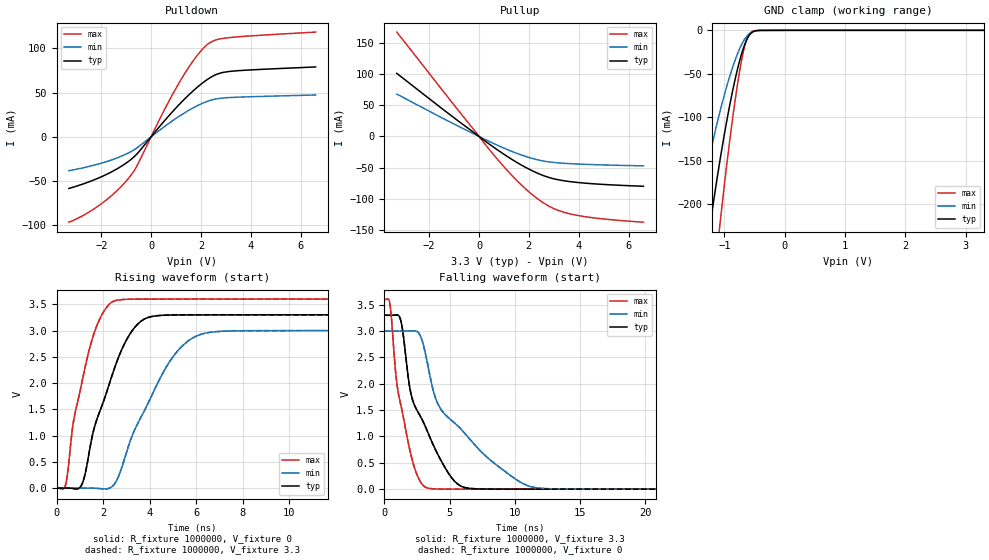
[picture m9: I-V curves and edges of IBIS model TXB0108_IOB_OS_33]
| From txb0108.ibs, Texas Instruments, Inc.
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[Model]   TXB0108_IOB_OS_33
Model_type  I/O
Vinl=1.05
Vinh=2.34
Enable   Active-High
Vref =   0
Rref =   1000000
Cref =   15p
Vmeas =   1.65
| variable   typ   min   max
C_comp   9.20pF   7.86pF   10.22pF
| C_pullup   9.44pF   7.19pF   11.72pF
| C_pulldown   9.53pF   8.77pF   9.98pF
| C_tri-state   9.20pF   7.86pF   10.22pF
[Temperature Range]   40   100   -40
| Ambient temperature   25   85   -40
[Voltage range]   3.3   3   3.6
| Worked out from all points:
|   slope of the pulldown table from 0 to 0.495 V, typ, clamps not added: 29.6 ohm
|   slope of the pullup table from 0 to 0.495 V, typ, clamps not added: 33.8 ohm
|   GND clamp passes 1 mA (typ) near -0.50 V on its own axis
|   rising waveform, R_fixture 1000000, V_fixture 0: 20-80 % time 1.41ns typ, 1.9ns min, 983ps max; typ from 0 V to 3.3 V
|   falling waveform, R_fixture 1000000, V_fixture 3.3: 20-80 % time 2.51ns typ, 4.61ns min, 1.32ns max; typ from 3.3 V to 0 V
|   rising waveform, R_fixture 1000000, V_fixture 3.3: 20-80 % time 1.41ns typ, 1.9ns min, 983ps max; typ from 0 V to 3.3 V
|   falling waveform, R_fixture 1000000, V_fixture 0: 20-80 % time 2.51ns typ, 4.61ns min, 1.32ns max; typ from 3.3 V to 0 V
[GND Clamp]
| TXB0108_IOB_33
|   Voltage   I(typ)   I(min)   I(max)
-3.3V     -1.53A     -1.102A    -2.005A
-1.49V    -354.6mA   -229.7mA   -515.1mA
-1.45V    -332.9mA   -214.9mA   -485.1mA
-1.24V    -225.5mA   -143mA     -333.6mA
-1.075V   -150.3mA   -93.9mA    -223.7mA
-885mV    -76.77mA   -47.04mA   -112.4mA
-745mV    -34.4mA    -20.81mA   -45.81mA
-695mV    -22.58mA   -13.75mA   -27.51mA
-640mV    -12.29mA   -7.744mA   -12.74mA
-585mV    -5.4mA     -3.7mA     -4.356mA
-530mV    -1.86mA    -1.452mA   -1.075mA
3.3V      573.2pA    2.891nA    92.19pA
[Pulldown]
| TXB0108_IOB_33
|   Voltage   I(typ)   I(min)   I(max)
-3.3V     -58.39mA   -38.31mA   -96.51mA
-1.955V   -44.67mA   -29.49mA   -74.8mA
-1.345V   -35.87mA   -23.66mA   -60.23mA
-840mV    -26.34mA   -17.24mA   -44.58mA
-560mV    -19.13mA   -12.39mA   -32.42mA
470mV     15.92mA    10.19mA    27.01mA
1.145V    36.98mA    23.51mA    61.97mA
1.775V    54.09mA    33.99mA    89.21mA
2.275V    65.11mA    40.26mA    104.7mA
2.61V     70.34mA    42.79mA    109.5mA
3.15V     73.84mA    44.33mA    112.1mA
6.6V      78.94mA    47.24mA    118.3mA
[Pullup]
| TXB0108_IOB_33
|   Voltage   I(typ)   I(min)   I(max)
-3.3V     101.4mA    68.04mA    167.8mA
-1.08V    32.41mA    21.56mA    54.5mA
655mV     -19.17mA   -12.61mA   -32.64mA
1.515V    -41.6mA    -27.04mA   -70.64mA
2.275V    -57.72mA   -36.8mA    -97.91mA
2.62V     -63.39mA   -39.78mA   -107.6mA
2.945V    -67.46mA   -41.57mA   -114.8mA
3.685V    -72.74mA   -43.77mA   -124.7mA
4.785V    -76.59mA   -45.52mA   -131.7mA
6.6V      -80.05mA   -47.21mA   -137.8mA
[Ramp]
| TXB0108_IOB_33
| variable   typ   min   max
dV/dt_r   1.99/1.41E-09   1.81/1.90E-09   2.17/9.85E-10
dV/dt_f   1.98/2.51E-09   1.80/4.60E-09   2.16/1.32E-09
R_load = 1000000
[Rising Waveform]
| TXB0108_IOB_33
R_fixture =   1000000
C_fixture =   0
L_fixture =   0
V_fixture =   0
V_fixture_min = 0
V_fixture_max = 0
|   Time   V(typ)   V(min)   V(max)
0s        988pV      11.37nV    243.9pV
389ps     832.3uV    20.32uV    63.89mV
725ps     -7.402mV   14.81uV    1.256V
1.085ns   65.9mV     797.7uV    2V
1.901ns   1.508V     -9.227mV   3.26V
2.861ns   2.693V     468.4mV    3.592V
3.725ns   3.206V     1.427V     3.599V
5.045ns   3.297V     2.522V     3.6V
7.133ns   3.3V       2.988V     3.6V
117.8ns   3.3V       3V         3.6V
[Falling Waveform]
| TXB0108_IOB_33
R_fixture =   1000000
C_fixture =   0
L_fixture =   0
V_fixture =   3.3
V_fixture_min = 3
V_fixture_max = 3.6
|   Time   V(typ)   V(min)   V(max)
0s        3.3V       3V         3.6V
413ps     3.299V     3V         3.52V
1.181ns   3.255V     2.999V     1.678V
2.045ns   1.796V     3.003V     637.7mV
2.765ns   1.377V     2.901V     137.6mV
3.557ns   941.8mV    2.067V     11.2mV
4.277ns   570.8mV    1.536V     2.24mV
5.933ns   48.7mV     1.121V     243.6uV
12.08ns   146.2uV    14.41mV    63.21uV
117.8ns   95.88uV    136uV      61.03uV
[Rising Waveform]
| TXB0108_IOB_33
R_fixture =   1000000
C_fixture =   0
L_fixture =   0
V_fixture =   3.3
V_fixture_min = 3
V_fixture_max = 3.6
|   Time   V(typ)   V(min)   V(max)
0s        94.81uV    134.2uV    60.54uV
389ps     927.1uV    154.5uV    63.95mV
725ps     -7.308mV   148.8uV    1.256V
1.085ns   65.99mV    931.9uV    2V
1.901ns   1.508V     -9.094mV   3.26V
2.861ns   2.693V     468.5mV    3.592V
3.725ns   3.206V     1.427V     3.599V
5.045ns   3.297V     2.522V     3.6V
7.133ns   3.3V       2.988V     3.6V
117.8ns   3.3V       3V         3.6V
[Falling Waveform]
| TXB0108_IOB_33
R_fixture =   1000000
C_fixture =   0
L_fixture =   0
V_fixture =   0
V_fixture_min = 0
V_fixture_max = 0
|   Time   V(typ)   V(min)   V(max)
0s        3.3V       3V         3.6V
413ps     3.299V     3V         3.52V
1.181ns   3.255V     2.999V     1.678V
2.021ns   1.822V     3.003V     662mV
2.765ns   1.377V     2.901V     137.5mV
3.557ns   941.2mV    2.067V     11.14mV
4.277ns   569.9mV    1.535V     2.179mV
5.933ns   48.38mV    1.121V     183.1uV
12.08ns   51.32uV    14.27mV    2.667uV
117.8ns   400.1nV    698nV      232.3nV
